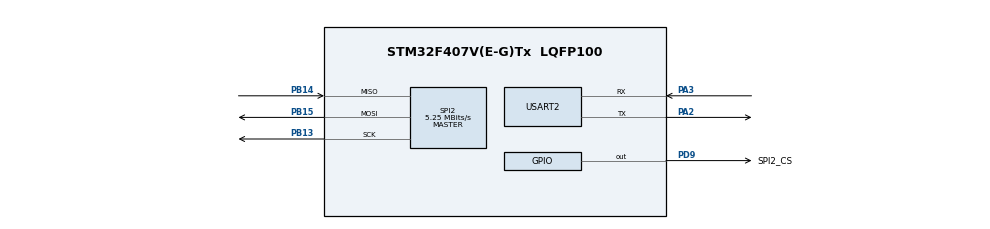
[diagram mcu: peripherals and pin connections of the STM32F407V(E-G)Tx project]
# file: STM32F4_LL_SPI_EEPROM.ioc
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Mcu.Family=STM32F4
Mcu.Name=STM32F407V(E-G)Tx
Mcu.Package=LQFP100
NVIC.PriorityGroup=NVIC_PRIORITYGROUP_0
PA13.Mode=Serial_Wire
PA13.Signal=SYS_JTMS-SWDIO
PA14.Mode=Serial_Wire
PA14.Signal=SYS_JTCK-SWCLK
PA2.Mode=Asynchronous
PA2.Signal=USART2_TX
PA3.Mode=Asynchronous
PA3.Signal=USART2_RX
PB13.Mode=Full_Duplex_Master
PB13.Signal=SPI2_SCK
PB14.Mode=Full_Duplex_Master
PB14.Signal=SPI2_MISO
PB15.Mode=Full_Duplex_Master
PB15.Signal=SPI2_MOSI
PD9.GPIO_Label=SPI2_CS
PD9.PinState=GPIO_PIN_SET
PD9.Signal=GPIO_Output
PH0-OSC_IN.Mode=HSE-External-Oscillator
PH0-OSC_IN.Signal=RCC_OSC_IN
PH1-OSC_OUT.Mode=HSE-External-Oscillator
PH1-OSC_OUT.Signal=RCC_OSC_OUT
ProjectManager.HeapSize=0x200
ProjectManager.StackSize=0x400
ProjectManager.TargetToolchain=STM32CubeIDE
RCC.48MHZClocksFreq_Value=48000000
RCC.AHBFreq_Value=168000000
RCC.APB1CLKDivider=RCC_HCLK_DIV4
RCC.APB1Freq_Value=42000000
RCC.APB1TimFreq_Value=84000000
RCC.APB2CLKDivider=RCC_HCLK_DIV2
RCC.APB2Freq_Value=84000000
RCC.APB2TimFreq_Value=168000000
RCC.CortexFreq_Value=168000000
RCC.HCLKFreq_Value=168000000
RCC.HSE_VALUE=8000000
RCC.HSI_VALUE=16000000
RCC.LSE_VALUE=32768
RCC.PLLM=4
RCC.PLLN=168
RCC.PLLQ=7
RCC.PLLSourceVirtual=RCC_PLLSOURCE_HSE
RCC.SYSCLKFreq_VALUE=168000000
RCC.SYSCLKSource=RCC_SYSCLKSOURCE_PLLCLK
RCC.VCOOutputFreq_Value=336000000
SPI2.BaudRatePrescaler=SPI_BAUDRATEPRESCALER_8
SPI2.CalculateBaudRate=5.25 MBits/s
SPI2.Direction=SPI_DIRECTION_2LINES
SPI2.Mode=SPI_MODE_MASTER
SPI2.VirtualType=VM_MASTER
USART2.VirtualMode=VM_ASYNC
board=STM32F407G-DISC1

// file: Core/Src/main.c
/* USER CODE BEGIN Header */
/**
 ******************************************************************************
 * @file           : main.c
 * @brief          : Main program body
 ******************************************************************************
 * @attention
 *
 * Copyright (c) 2022 STMicroelectronics.
 * All rights reserved.
 *
 * This software is licensed under terms that can be found in the LICENSE file
 * in the root directory of this software component.
 * If no LICENSE file comes with this software, it is provided AS-IS.
 *
 ******************************************************************************
 */
/* USER CODE END Header */
#include "main.h"
#include "spi.h"
#include "usart.h"
#include "gpio.h"

/* USER CODE BEGIN Includes */
#include "25lc010a.h"
#include <stdio.h>
#include <string.h>
/* USER CODE END Includes */

void SystemClock_Config(void);

/* USER CODE BEGIN 0 */
int __io_putchar (int ch)
{
  while (!LL_USART_IsActiveFlag_TXE(USART2));
  LL_USART_TransmitData8(USART2, (char)ch);
  return ch;
}

uint8_t data;
char *sndBuffer = "HELLO WORLD!HELLO WORLD!HELLO WORLD!HELLO WORLD!";
char rcvBuffer[50];
/* USER CODE END 0 */

int main(void)
{

  /* MCU Configuration--------------------------------------------------------*/

  /* Reset of all peripherals, Initializes the Flash interface and the Systick. */
  LL_APB2_GRP1_EnableClock(LL_APB2_GRP1_PERIPH_SYSCFG);
  LL_APB1_GRP1_EnableClock(LL_APB1_GRP1_PERIPH_PWR);

  /* System interrupt init*/
  NVIC_SetPriorityGrouping(NVIC_PRIORITYGROUP_0);

  /* Configure the system clock */
  SystemClock_Config();

  /* Initialize all configured peripherals */
  MX_GPIO_Init();
  MX_SPI2_Init();
  MX_USART2_UART_Init();
  /* USER CODE BEGIN 2 */

  // configure SPI & GPIO variables
  EEPROM_Init(SPI2, SPI2_CS_GPIO_Port, SPI2_CS_Pin);

  // write byte 'A' and check
  printf("EEPROM_WriteByte@0x00: A\r\n");
  EEPROM_WriteByte(0x00, 'A');
  data = EEPROM_ReadByte(0x00);
  printf("EEPROM_ReadByte@0x00: %c\r\n", data);

  // write byte 'B' and check
  printf("EEPROM_WriteByte@0x01: B\r\n");
  EEPROM_WriteByte(0x01, 'B');
  data = EEPROM_ReadByte(0x01);
  printf("EEPROM_ReadByte@0x01: %c\r\n", data);

  // write buffer "HELLO WORLD!HELLO WORLD!" and check
  printf("EEPROM_WriteBuffer@0x02: %s\r\n", sndBuffer);
  EEPROM_WriteBuffer(0x02, (uint8_t*)sndBuffer, strlen(sndBuffer));
  memset(rcvBuffer, 0, sizeof(rcvBuffer));
  EEPROM_ReadBuffer(0x02, (uint8_t*)rcvBuffer,strlen(sndBuffer));
  printf("EEPROM_ReadBuffer@0x02: %s\r\n", rcvBuffer);

  // erase all and check
  printf("EEPROM_EraseAll.\r\n");
  EEPROM_EraseAll();
  data = EEPROM_ReadByte(0x00);
  printf("EEPROM_ReadByte@0x00: %c\r\n", data);

  /* USER CODE END 2 */

  /* Infinite loop */
  while (1)
  {

  }
}

void SystemClock_Config(void)
{
  LL_FLASH_SetLatency(LL_FLASH_LATENCY_5);
  while(LL_FLASH_GetLatency()!= LL_FLASH_LATENCY_5)
  {
  }
  LL_PWR_SetRegulVoltageScaling(LL_PWR_REGU_VOLTAGE_SCALE1);
  LL_RCC_HSE_Enable();

   /* Wait till HSE is ready */
  while(LL_RCC_HSE_IsReady() != 1)
  {

  }
  LL_RCC_PLL_ConfigDomain_SYS(LL_RCC_PLLSOURCE_HSE, LL_RCC_PLLM_DIV_4, 168, LL_RCC_PLLP_DIV_2);
  LL_RCC_PLL_Enable();

   /* Wait till PLL is ready */
  while(LL_RCC_PLL_IsReady() != 1)
  {

  }
  LL_RCC_SetAHBPrescaler(LL_RCC_SYSCLK_DIV_1);
  LL_RCC_SetAPB1Prescaler(LL_RCC_APB1_DIV_4);
  LL_RCC_SetAPB2Prescaler(LL_RCC_APB2_DIV_2);
  LL_RCC_SetSysClkSource(LL_RCC_SYS_CLKSOURCE_PLL);

   /* Wait till System clock is ready */
  while(LL_RCC_GetSysClkSource() != LL_RCC_SYS_CLKSOURCE_STATUS_PLL)
  {

  }
  LL_Init1msTick(168000000);
  LL_SetSystemCoreClock(168000000);
}

void Error_Handler(void)
{
  __disable_irq();
  while (1)
  {
  }
}
